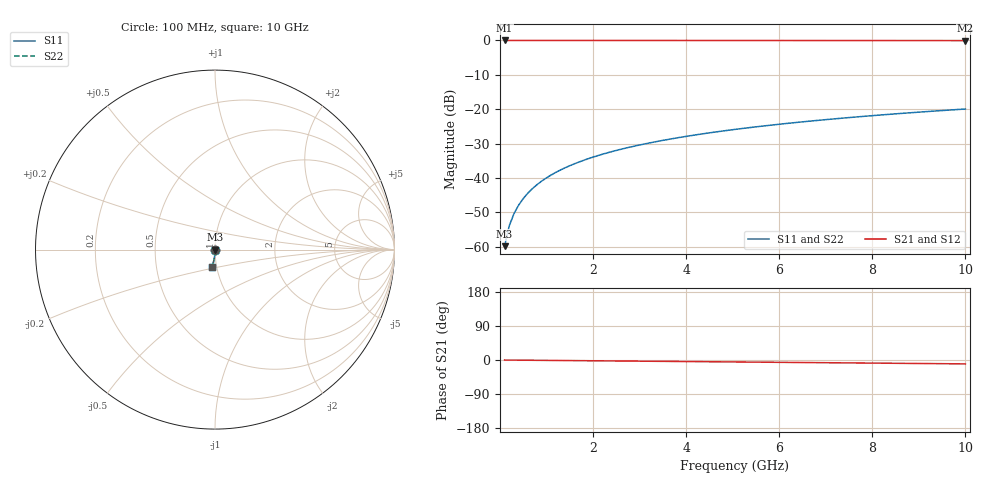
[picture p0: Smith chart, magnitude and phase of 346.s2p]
# Hz S RI R 50.00
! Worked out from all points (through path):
!   100 points, 100 MHz to 10 GHz, reference 50 ohm
!   highest |S21| = 0.00 dB at 100 MHz (marker M1); lowest = 0.0 dB at 10 GHz (marker M2)
!   group delay of S21, straight-line fit = 2.84 ps
!   lowest |S11| = -59.8 dB at 100 MHz (marker M3), VSWR 1.00, Z = 50 - j0.101 ohm
!   |S11| at or under -10 dB: start of sweep to end of sweep
!   |S22| runs from -59.8 to -19.9 dB; largest |S21 - S12| = 0
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1e8  0.000183 -0.00101  0.9998 -0.00178  0.9998 -0.00178  0.000183 -0.00101
2e8  0.000177 -0.00201  0.9998 -0.00355  0.9998 -0.00355  0.000177 -0.00201
3e8  0.000168 -0.00302  0.9998 -0.00533  0.9998 -0.00533  0.000168 -0.00302
4e8  0.000155 -0.00403  0.9998 -0.0071  0.9998 -0.0071  0.000155 -0.00403
5e8  0.000138 -0.00504  0.9998 -0.00888  0.9998 -0.00888  0.000138 -0.00504
6e8  0.000117 -0.00604  0.9997 -0.0107  0.9997 -0.0107  0.000117 -0.00604
7e8  9.34e-05 -0.00705  0.9997 -0.0124  0.9997 -0.0124  9.34e-05 -0.00705
8e8  6.57e-05 -0.00806  0.9997 -0.0142  0.9997 -0.0142  6.57e-05 -0.00806
9e8  3.44e-05 -0.00906  0.9996 -0.016  0.9996 -0.016  3.44e-05 -0.00906
1.1e9  -3.9e-05 -0.0111  0.9995 -0.0195  0.9995 -0.0195  -3.9e-05 -0.0111
1.4e9  -0.000176 -0.0141  0.9994 -0.0249  0.9994 -0.0249  -0.000176 -0.0141
1.8e9  -0.000409 -0.0181  0.9991 -0.032  0.9991 -0.032  -0.000409 -0.0181
2.1e9  -0.000622 -0.0211  0.9989 -0.0373  0.9989 -0.0373  -0.000622 -0.0211
2.5e9  -0.000956 -0.0252  0.9985 -0.0444  0.9985 -0.0444  -0.000956 -0.0252
2.9e9  -0.00135 -0.0292  0.998 -0.0515  0.998 -0.0515  -0.00135 -0.0292
3.4e9  -0.00192 -0.0342  0.9973 -0.0604  0.9973 -0.0604  -0.00192 -0.0342
4.2e9  -0.00302 -0.0423  0.9961 -0.0746  0.9961 -0.0746  -0.00302 -0.0423
5.1e9  -0.00453 -0.0513  0.9943 -0.0906  0.9943 -0.0906  -0.00453 -0.0513
5.9e9  -0.00612 -0.0592  0.9924 -0.1047  0.9924 -0.1047  -0.00612 -0.0592
6.7e9  -0.00794 -0.0671  0.9903 -0.1188  0.9903 -0.1188  -0.00794 -0.0671
8.4e9  -0.0126 -0.0838  0.9849 -0.1487  0.9849 -0.1487  -0.0126 -0.0838
1e10  -0.0178 -0.0992  0.9787 -0.1767  0.9787 -0.1767  -0.0178 -0.0992
